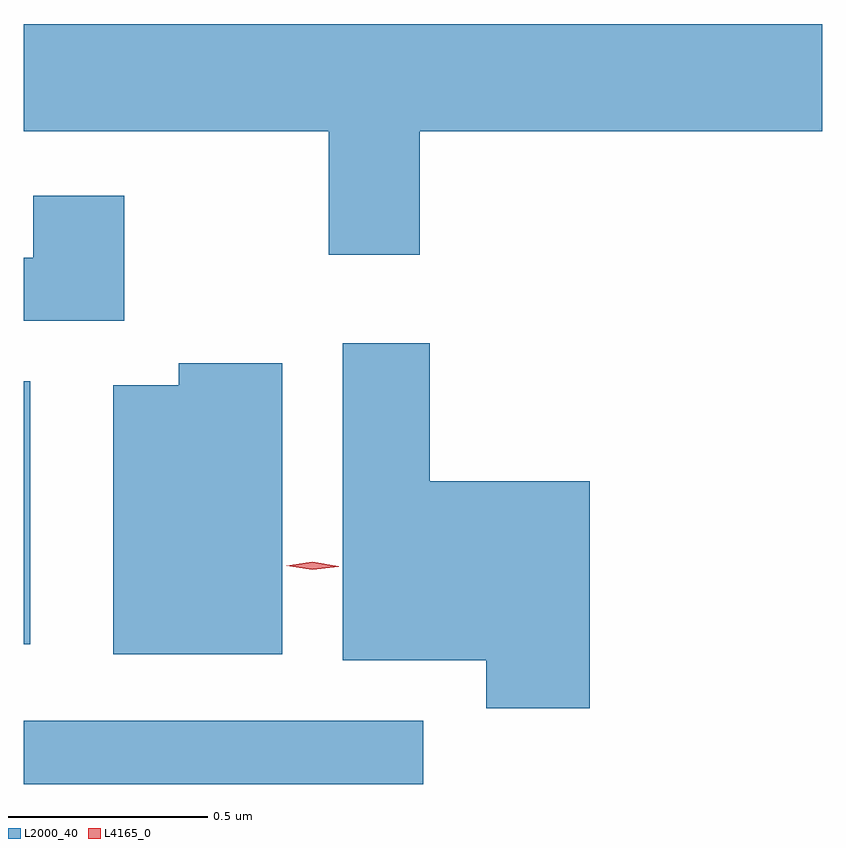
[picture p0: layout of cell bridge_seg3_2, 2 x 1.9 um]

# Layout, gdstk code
import gdstk
lib = gdstk.Library(unit=1e-6, precision=1e-09)
def R(c, l, rs):  # rectangles x0, y0, x1, y1
    for r in rs: c.add(gdstk.rectangle(r[:2], r[2:], *l))
def P(c, l, *ps):  # polygons
    for p in ps: c.add(gdstk.Polygon(p, *l))
L2000_40 = (2000, 40)
L4165_0 = (4165, 0)

bridge_seg3_2 = lib.new_cell('bridge_seg3_2')
R(bridge_seg3_2, L2000_40, [(1250.107,1250.921,1251.108,1251.079), (1250.107,1251.271,1250.124,1251.929)])
P(bridge_seg3_2, L2000_40, [(1251.099,1252.556),(1252.107,1252.556),(1252.107,1252.824),(1250.107,1252.824),(1250.107,1252.556),(1250.871,1252.556),(1250.871,1252.246),(1251.099,1252.246)],
  [(1250.359,1252.394),(1250.131,1252.394),(1250.131,1252.239),(1250.107,1252.239),(1250.107,1252.081),(1250.359,1252.081)],
  [(1251.524,1251.679),(1251.124,1251.679),(1251.124,1252.024),(1250.906,1252.024),(1250.906,1251.231),(1251.266,1251.231),(1251.266,1251.111),(1251.524,1251.111)],
  [(1250.754,1251.974),(1250.496,1251.974),(1250.496,1251.919),(1250.331,1251.919),(1250.331,1251.246),(1250.754,1251.246)])
P(bridge_seg3_2, L4165_0, [(1250.83,1251.457),(1250.764,1251.467),(1250.763,1251.468),(1250.764,1251.468),(1250.83,1251.477),(1250.896,1251.466),(1250.896,1251.466),(1250.896,1251.465)])

lib.write_gds('bridge_seg3_2.gds')
